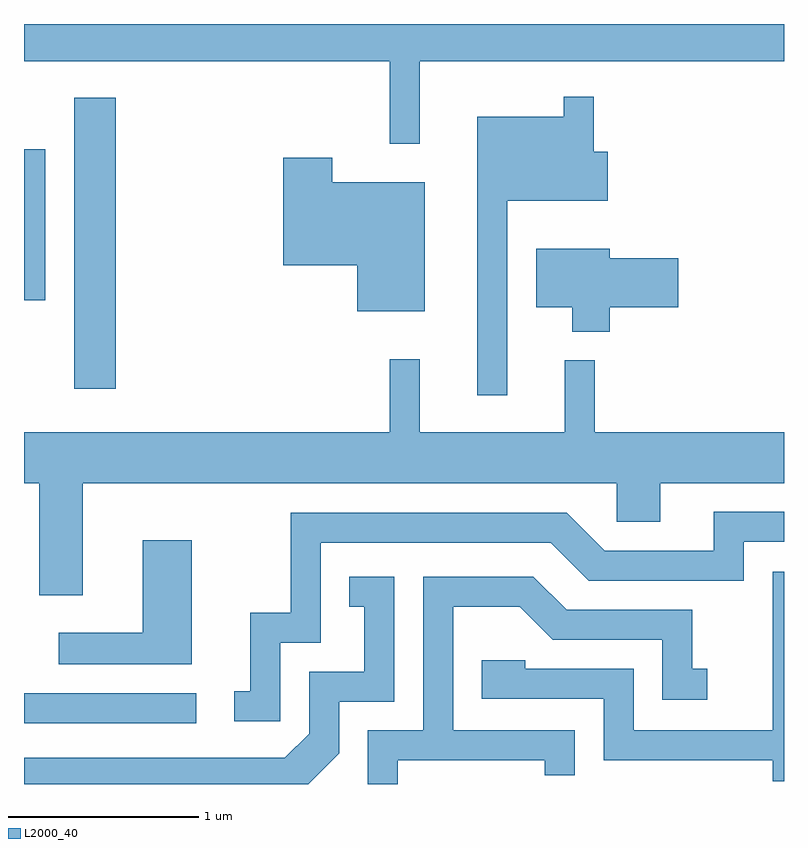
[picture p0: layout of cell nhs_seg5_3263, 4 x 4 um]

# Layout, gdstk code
import gdstk
lib = gdstk.Library(unit=1e-6, precision=1e-09)
def R(c, l, rs):  # rectangles x0, y0, x1, y1
    for r in rs: c.add(gdstk.rectangle(r[:2], r[2:], *l))
def P(c, l, *ps):  # polygons
    for p in ps: c.add(gdstk.Polygon(p, *l))
L2000_40 = (2000, 40)

nhs_seg5_3263 = lib.new_cell('nhs_seg5_3263')
R(nhs_seg5_3263, L2000_40, [(281.611,1484.391,282.518,1484.549), (281.876,1486.151,282.094,1487.684), (281.611,1486.618,281.724,1487.414)])
P(nhs_seg5_3263, L2000_40, [(283.694,1487.876),(285.611,1487.876),(285.611,1488.072),(281.611,1488.072),(281.611,1487.876),(283.536,1487.876),(283.536,1487.443),(283.694,1487.443)],
  [(284.154,1487.141),(284.684,1487.141),(284.684,1487.399),(284.609,1487.399),(284.609,1487.688),(284.451,1487.688),(284.451,1487.584),(283.996,1487.584),(283.996,1486.118),(284.154,1486.118)],
  [(283.719,1487.239),(283.234,1487.239),(283.234,1487.369),(282.976,1487.369),(282.976,1486.801),(283.366,1486.801),(283.366,1486.561),(283.719,1486.561)],
  [(284.694,1486.581),(285.054,1486.581),(285.054,1486.839),(284.694,1486.839),(284.694,1486.889),(284.306,1486.889),(284.306,1486.581),(284.496,1486.581),(284.496,1486.451),(284.694,1486.451)],
  [(281.919,1485.656),(284.731,1485.656),(284.731,1485.451),(284.959,1485.451),(284.959,1485.656),(285.611,1485.656),(285.611,1485.924),(284.614,1485.924),(284.614,1486.303),(284.456,1486.303),(284.456,1485.924),(283.694,1485.924),(283.694,1486.308),(283.536,1486.308),(283.536,1485.924),(281.611,1485.924),(281.611,1485.656),(281.691,1485.656),(281.691,1485.066),(281.919,1485.066)],
  [(282.959,1484.816),(283.174,1484.816),(283.174,1485.341),(284.384,1485.341),(284.584,1485.141),(285.399,1485.141),(285.399,1485.346),(285.611,1485.346),(285.611,1485.504),(285.241,1485.504),(285.241,1485.299),(284.667,1485.299),(284.467,1485.499),(283.016,1485.499),(283.016,1484.974),(282.801,1484.974),(282.801,1484.559),(282.718,1484.559),(282.718,1484.401),(282.959,1484.401)],
  [(282.494,1485.354),(282.236,1485.354),(282.236,1484.869),(281.793,1484.869),(281.793,1484.701),(282.494,1484.701)],
  [(285.611,1485.189),(285.551,1485.189),(285.551,1484.354),(284.819,1484.354),(284.819,1484.679),(284.249,1484.679),(284.249,1484.724),(284.021,1484.724),(284.021,1484.521),(284.661,1484.521),(284.661,1484.196),(285.551,1484.196),(285.551,1484.086),(285.611,1484.086)],
  [(283.269,1484.234),(283.269,1484.506),(283.559,1484.506),(283.559,1485.164),(283.323,1485.164),(283.323,1485.006),(283.401,1485.006),(283.401,1484.664),(283.111,1484.664),(283.111,1484.337),(282.984,1484.209),(281.611,1484.209),(281.611,1484.072),(283.108,1484.072)],
  [(283.579,1484.196),(284.351,1484.196),(284.351,1484.118),(284.509,1484.118),(284.509,1484.354),(283.869,1484.354),(283.869,1485.006),(284.219,1485.006),(284.394,1484.831),(284.971,1484.831),(284.971,1484.516),(285.208,1484.516),(285.208,1484.679),(285.129,1484.679),(285.129,1484.989),(284.467,1484.989),(284.292,1485.164),(283.711,1485.164),(283.711,1484.354),(283.421,1484.354),(283.421,1484.072),(283.579,1484.072)])

lib.write_gds('nhs_seg5_3263.gds')
